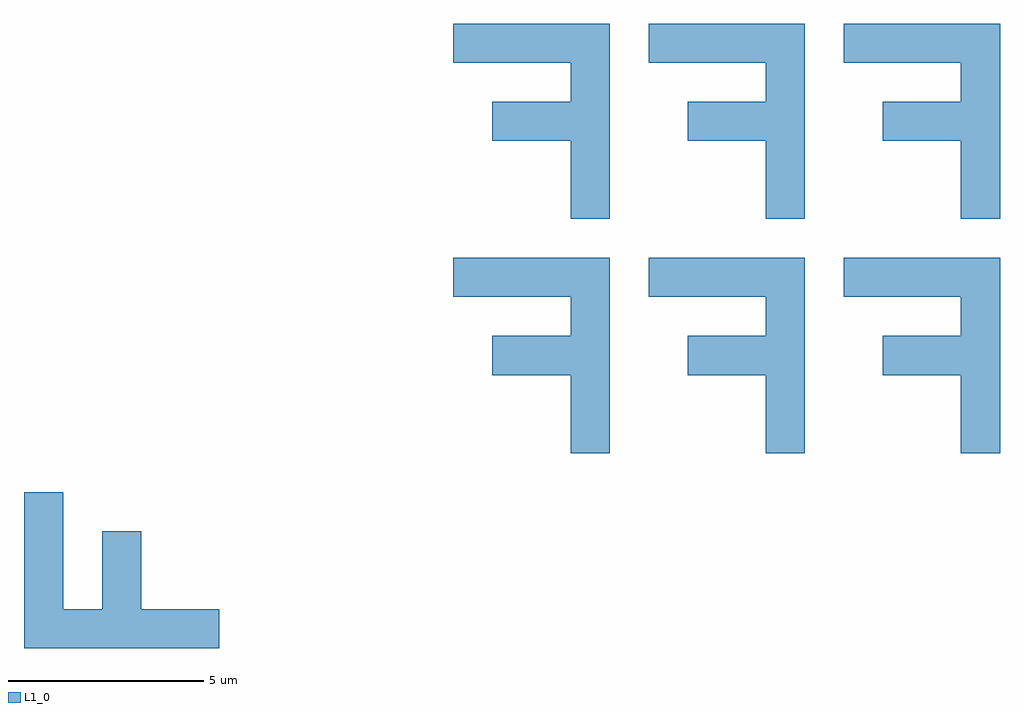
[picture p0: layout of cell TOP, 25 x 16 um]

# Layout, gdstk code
from math import pi, radians
import gdstk
lib = gdstk.Library(unit=1e-6, precision=1e-09)
def P(c, l, *ps):  # polygons
    for p in ps: c.add(gdstk.Polygon(p, *l))
L1_0 = (1, 0)

c_f = lib.new_cell('F')
P(c_f, L1_0, [(0,0),(0,5),(4,5),(4,4),(1,4),(1,3),(3,3),(3,2),(1,2),(1,0)])

top = lib.new_cell('TOP')
top.add(gdstk.Reference(c_f, (0,0), rotation=pi/2))
r = gdstk.Reference(c_f, (20,5), rotation=pi, x_reflection=True); r.repetition = gdstk.Repetition(3, 2, v1=(-5,0), v2=(0,6)); top.add(r)

lib.write_gds('TOP.gds')
